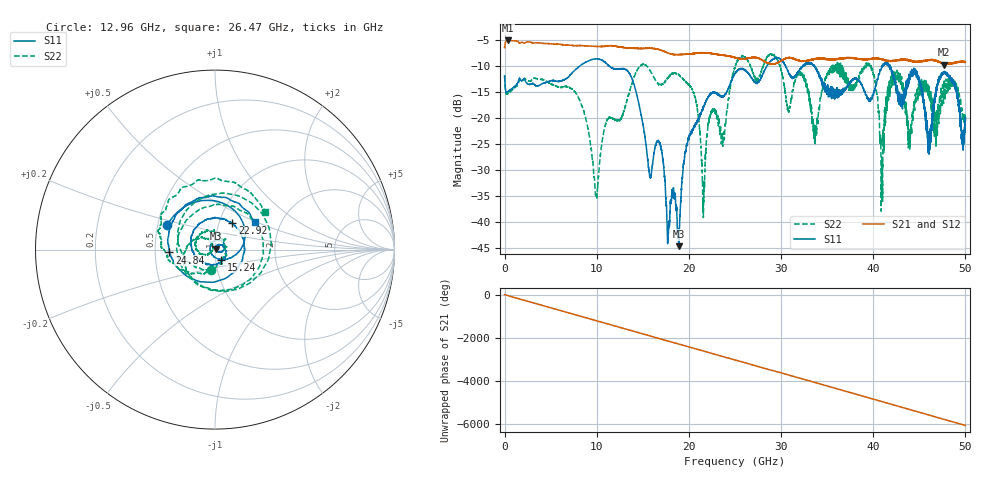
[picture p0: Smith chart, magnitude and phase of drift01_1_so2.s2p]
!Created with skrf (http://scikit-rf.org).
# Hz S RI R 50.0
!freq ReS11 ImS11 ReS21 ImS21 ReS12 ImS12 ReS22 ImS22
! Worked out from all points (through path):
!   10001 points, 300 kHz to 50 GHz, reference 50 ohm
!   highest |S21| = -5.05 dB at 400.3 MHz (marker M1); lowest = -9.7 dB at 47.67 GHz (marker M2)
!   group delay of S21, straight-line fit = 336 ps
!   lowest |S11| = -44.6 dB at 18.92 GHz (marker M3), VSWR 1.01, Z = 50.4 + j0.467 ohm
!   |S11| at or under -10 dB: start of sweep to 8.133 GHz; 11.38 GHz to 28.45 GHz (17.08 GHz wide, 85.7 % of centre); 41.79 GHz to end of sweep (the widest 3 of 14)
!   |S22| runs from -39.1 to -7.6 dB; largest |S21 - S12| = 0.013
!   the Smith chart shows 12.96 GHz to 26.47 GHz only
!   S11 on the Smith chart (normalised r, x): 12.96 GHz: 0.56, +0.17; 15.24 GHz: 1.07, -0.12; 22.92 GHz: 1.16, +0.35; 24.84 GHz: 0.59, -0.02; 26.47 GHz: 1.48, +0.48
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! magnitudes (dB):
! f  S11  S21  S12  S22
! 300 kHz  -11.8  -6.5  -6.5  -11.9
! 400.3 MHz  -14.8  -5.1  -5.1  -15.2
! 8.335 GHz  -9.7  -6.0  -6.0  -17.5
! 9.935 GHz  -8.6  -6.2  -6.2  -34.7
! 12.96 GHz  -10.5  -6.4  -6.4  -18.6
! 15.24 GHz  -23.6  -6.6  -6.6  -9.7
! 16.67 GHz  -24.3  -6.8  -6.8  -13.4
! 17.71 GHz  -43.3  -7.5  -7.4  -12.3
! 18.92 GHz  -44.6  -7.8  -7.8  -11.7
! 20.7 GHz  -21.2  -7.5  -7.5  -16.3
! 21.56 GHz  -17.8  -7.4  -7.4  -37.9
! 22.92 GHz  -15.1  -7.7  -7.7  -18.8
! 24.84 GHz  -11.9  -8.3  -8.3  -11.3
! 25 GHz  -11.4  -8.3  -8.4  -10.2
! 26.47 GHz  -11.4  -8.5  -8.5  -9.2
! 33.34 GHz  -9.5  -8.8  -8.7  -19.8
! 39.51 GHz  -16.7  -8.7  -8.6  -10.1
! 40.94 GHz  -9.8  -8.6  -8.7  -27.2
! 41.67 GHz  -9.9  -8.9  -9.0  -15.6
! 46.08 GHz  -26.0  -8.7  -8.8  -14.8
! 47.67 GHz  -11.4  -9.7  -9.6  -14.3
! 50 GHz  -20.4  -9.2  -9.2  -20.2
